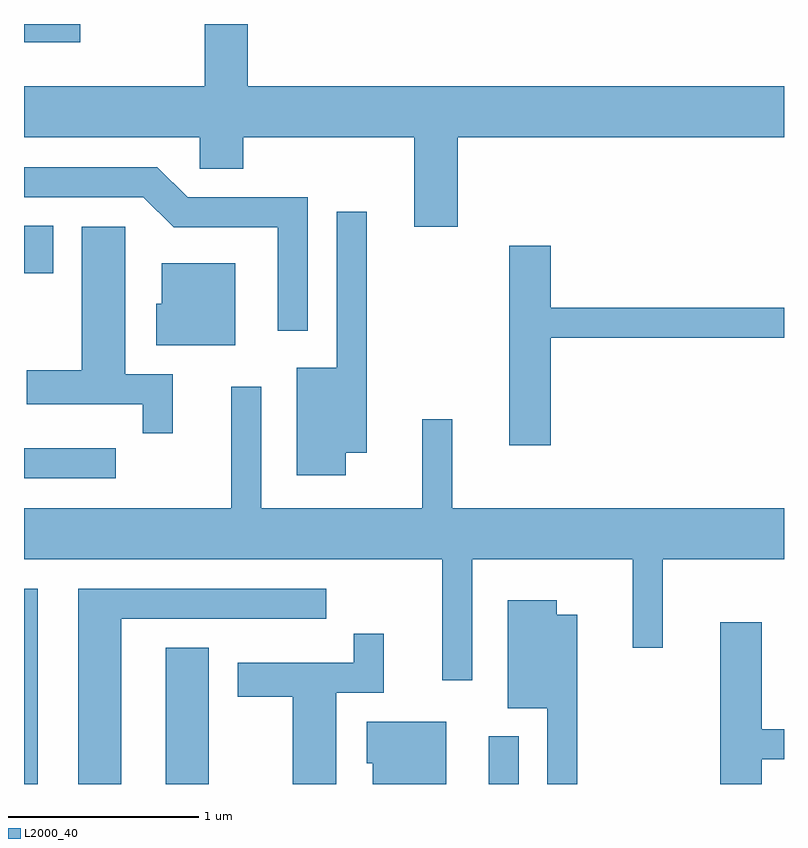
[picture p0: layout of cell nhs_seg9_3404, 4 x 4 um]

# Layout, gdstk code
import gdstk
lib = gdstk.Library(unit=1e-6, precision=1e-09)
def R(c, l, rs):  # rectangles x0, y0, x1, y1
    for r in rs: c.add(gdstk.rectangle(r[:2], r[2:], *l))
def P(c, l, *ps):  # polygons
    for p in ps: c.add(gdstk.Polygon(p, *l))
L2000_40 = (2000, 40)

nhs_seg9_3404 = lib.new_cell('nhs_seg9_3404')
R(nhs_seg9_3404, L2000_40, [(285.611,1968.432,285.684,1969.459), (286.356,1968.432,286.584,1969.149), (288.056,1968.432,288.214,1968.683), (285.611,1970.041,286.093,1970.199), (285.611,1971.121,285.764,1971.369), (285.611,1972.336,285.908,1972.432)])
P(nhs_seg9_3404, L2000_40, [(287.894,1971.836),(289.611,1971.836),(289.611,1972.104),(286.789,1972.104),(286.789,1972.432),(286.561,1972.432),(286.561,1972.104),(285.611,1972.104),(285.611,1971.836),(286.536,1971.836),(286.536,1971.671),(286.764,1971.671),(286.764,1971.836),(287.666,1971.836),(287.666,1971.366),(287.894,1971.366)],
  [(287.104,1971.519),(286.472,1971.519),(286.312,1971.679),(285.611,1971.679),(285.611,1971.521),(286.239,1971.521),(286.399,1971.361),(286.946,1971.361),(286.946,1970.818),(287.104,1970.818)],
  [(287.304,1970.176),(287.414,1970.176),(287.414,1971.443),(287.256,1971.443),(287.256,1970.624),(287.046,1970.624),(287.046,1970.056),(287.304,1970.056)],
  [(286.394,1970.589),(286.144,1970.589),(286.144,1971.364),(285.916,1971.364),(285.916,1970.609),(285.626,1970.609),(285.626,1970.431),(286.236,1970.431),(286.236,1970.278),(286.394,1970.278)],
  [(288.384,1970.781),(289.611,1970.781),(289.611,1970.939),(288.384,1970.939),(288.384,1971.264),(288.166,1971.264),(288.166,1970.216),(288.384,1970.216)],
  [(286.724,1971.174),(286.336,1971.174),(286.336,1970.959),(286.306,1970.959),(286.306,1970.741),(286.724,1970.741)],
  [(287.969,1969.616),(288.816,1969.616),(288.816,1969.148),(288.974,1969.148),(288.974,1969.616),(289.611,1969.616),(289.611,1969.884),(287.864,1969.884),(287.864,1970.353),(287.706,1970.353),(287.706,1969.884),(286.859,1969.884),(286.859,1970.523),(286.701,1970.523),(286.701,1969.884),(285.611,1969.884),(285.611,1969.616),(287.811,1969.616),(287.811,1968.978),(287.969,1968.978)],
  [(286.124,1969.301),(287.203,1969.301),(287.203,1969.459),(285.896,1969.459),(285.896,1968.432),(286.124,1968.432)],
  [(288.524,1969.324),(288.414,1969.324),(288.414,1969.399),(288.156,1969.399),(288.156,1968.831),(288.366,1968.831),(288.366,1968.432),(288.524,1968.432)],
  [(289.494,1968.561),(289.611,1968.561),(289.611,1968.719),(289.494,1968.719),(289.494,1969.284),(289.276,1969.284),(289.276,1968.432),(289.494,1968.432)],
  [(287.254,1968.911),(287.504,1968.911),(287.504,1969.223),(287.346,1969.223),(287.346,1969.069),(286.736,1969.069),(286.736,1968.891),(287.026,1968.891),(287.026,1968.432),(287.254,1968.432)],
  [(287.834,1968.759),(287.416,1968.759),(287.416,1968.541),(287.446,1968.541),(287.446,1968.432),(287.834,1968.432)])

lib.write_gds('nhs_seg9_3404.gds')
